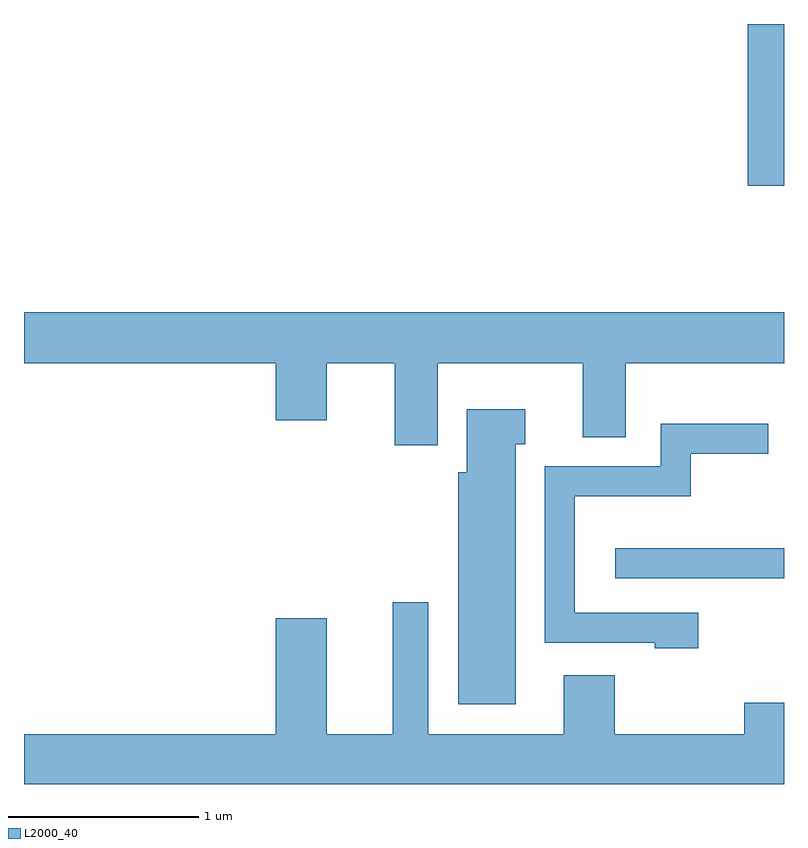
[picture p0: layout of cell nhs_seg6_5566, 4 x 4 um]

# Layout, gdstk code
import gdstk
lib = gdstk.Library(unit=1e-6, precision=1e-09)
def R(c, l, rs):  # rectangles x0, y0, x1, y1
    for r in rs: c.add(gdstk.rectangle(r[:2], r[2:], *l))
def P(c, l, *ps):  # polygons
    for p in ps: c.add(gdstk.Polygon(p, *l))
L2000_40 = (2000, 40)

nhs_seg6_5566 = lib.new_cell('nhs_seg6_5566')
R(nhs_seg6_5566, L2000_40, [(356.723,1653.246,357.611,1653.404), (357.421,1655.311,357.611,1656.162)])
P(nhs_seg6_5566, L2000_40, [(355.789,1654.376),(356.551,1654.376),(356.551,1653.986),(356.779,1653.986),(356.779,1654.376),(357.611,1654.376),(357.611,1654.644),(353.611,1654.644),(353.611,1654.376),(354.936,1654.376),(354.936,1654.076),(355.204,1654.076),(355.204,1654.376),(355.561,1654.376),(355.561,1653.946),(355.789,1653.946)],
  [(356.199,1653.951),(356.249,1653.951),(356.249,1654.134),(355.941,1654.134),(355.941,1653.804),(355.896,1653.804),(355.896,1652.581),(356.199,1652.581)],
  [(357.159,1653.064),(356.509,1653.064),(356.509,1653.676),(357.119,1653.676),(357.119,1653.901),(357.528,1653.901),(357.528,1654.059),(356.961,1654.059),(356.961,1653.834),(356.351,1653.834),(356.351,1652.906),(356.931,1652.906),(356.931,1652.876),(357.159,1652.876)],
  [(357.611,1652.589),(357.401,1652.589),(357.401,1652.424),(356.719,1652.424),(356.719,1652.734),(356.451,1652.734),(356.451,1652.424),(355.739,1652.424),(355.739,1653.119),(355.551,1653.119),(355.551,1652.424),(355.204,1652.424),(355.204,1653.034),(354.936,1653.034),(354.936,1652.424),(353.611,1652.424),(353.611,1652.162),(357.611,1652.162)])

lib.write_gds('nhs_seg6_5566.gds')
